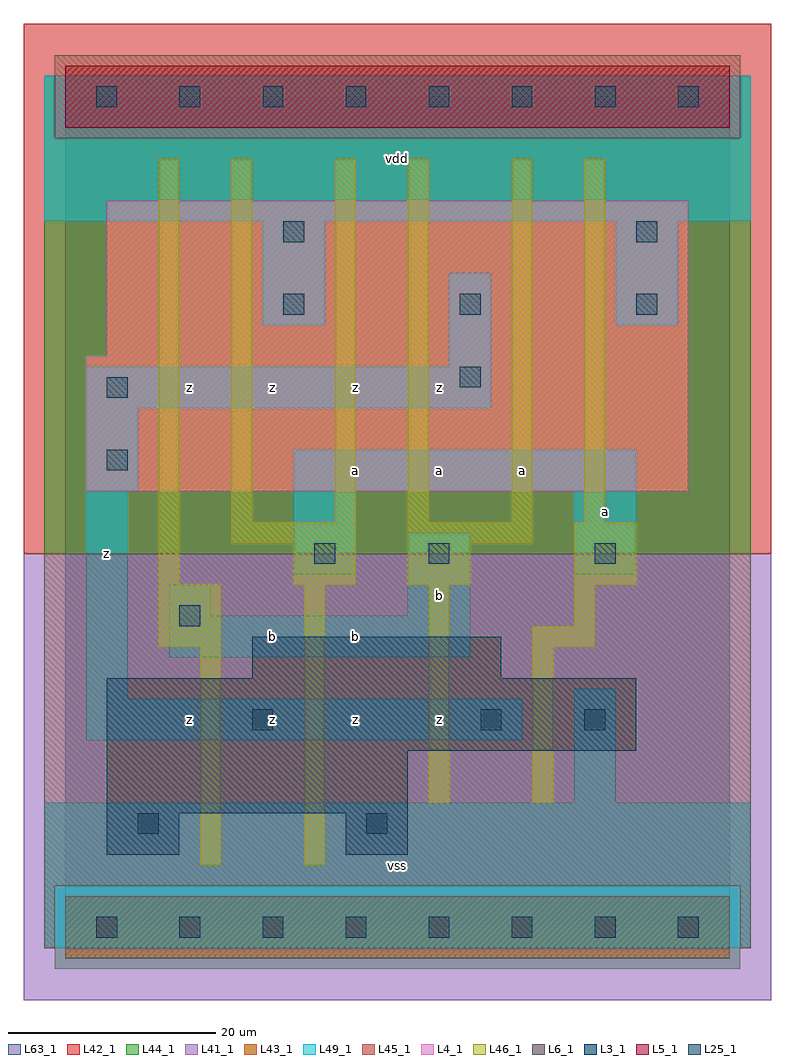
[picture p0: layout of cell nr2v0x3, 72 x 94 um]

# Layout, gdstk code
import gdstk
lib = gdstk.Library(unit=1e-6, precision=1e-09)
def R(c, l, rs):  # rectangles x0, y0, x1, y1
    for r in rs: c.add(gdstk.rectangle(r[:2], r[2:], *l))
def A(c, l, x, y, w, h, nx, ny, dx, dy):  # array of equal rectangles
    R(c, l, [(x+i*dx, y+j*dy, x+i*dx+w, y+j*dy+h) for i in range(nx) for j in range(ny)])
L3_1 = (3, 1)
L4_1 = (4, 1)
L5_1 = (5, 1)
L6_1 = (6, 1)
L25_1 = (25, 1)
L41_1 = (41, 1)
L42_1 = (42, 1)
L43_1 = (43, 1)
L44_1 = (44, 1)
L45_1 = (45, 1)
L46_1 = (46, 1)
L49_1 = (49, 1)
L63_1 = (63, 1)

nr2v0x3 = lib.new_cell('nr2v0x3')
R(nr2v0x3, L3_1, [(4,7,11,11), (27,7,33,11), (4,11,33,17), (4,17,55,24), (18,24,42,28)])
R(nr2v0x3, L4_1, [(2,42,60,55), (4,55,60,70)])
R(nr2v0x3, L5_1, [(0,77,64,83)])
R(nr2v0x3, L6_1, [(0,-3,64,3), (0,-3,64,3)])
A(nr2v0x3, L25_1, 3, -1, 2, 2, 8, 2, 8, 80)
A(nr2v0x3, L25_1, 21, 59, 2, 2, 3, 1, 17, 0)
R(nr2v0x3, L25_1, [(7,9,9,11), (29,9,31,11), (18,19,20,21), (40,19,42,21), (50,19,52,21), (11,29,13,31), (24,35,26,37), (35,35,37,37), (51,35,53,37), (4,44,6,46), (4,51,6,53), (38,52,40,54), (21,66,23,68), (55,66,57,68)])
R(nr2v0x3, L41_1, [(-4,-7,68,36)])
R(nr2v0x3, L42_1, [(-4,36,68,87)])
R(nr2v0x3, L43_1, [(0,-3,64,3), (4,7,11,11), (27,7,33,11), (4,11,33,17), (4,17,55,24), (18,24,42,28), (2,42,60,55), (4,55,60,70), (0,77,64,83)])
R(nr2v0x3, L44_1, [(-1,-4,65,4), (-2,36,66,76), (-2,76,-1,82), (65,76,66,82)])
R(nr2v0x3, L45_1, [(-2,-2,-1,4), (65,-2,66,4), (-2,4,66,36), (-1,76,65,84)])
R(nr2v0x3, L46_1, [(13,6,15,27), (23,6,25,33), (35,12,37,33), (45,12,47,27), (9,27,15,33), (45,27,51,29), (49,29,51,33), (9,33,11,74), (22,33,28,37), (33,33,39,37), (49,33,55,39), (16,37,28,39), (33,37,45,39), (16,39,18,74), (26,39,28,74), (33,39,35,74), (43,39,45,74), (50,39,52,74)])
R(nr2v0x3, L49_1, [(-2,-2,66,12), (49,12,53,23), (2,18,44,22), (2,22,6,42), (10,26,39,30), (10,30,14,33), (33,30,39,38), (22,34,28,42), (49,34,55,42), (2,42,7,50), (22,42,55,46), (2,50,41,54), (37,54,41,63), (19,58,25,68), (53,58,59,68), (-2,68,66,82)])
R(nr2v0x3, L63_1, [(0,0,64,80)])
nr2v0x3.add(gdstk.Label('z', (4,36), layer=49, texttype=1))
nr2v0x3.add(gdstk.Label('z', (12,20), layer=49, texttype=1))
nr2v0x3.add(gdstk.Label('b', (20,28), layer=49, texttype=1))
nr2v0x3.add(gdstk.Label('z', (20,20), layer=49, texttype=1))
nr2v0x3.add(gdstk.Label('z', (20,52), layer=49, texttype=1))
nr2v0x3.add(gdstk.Label('z', (12,52), layer=49, texttype=1))
nr2v0x3.add(gdstk.Label('vss', (32,6), layer=49, texttype=1))
nr2v0x3.add(gdstk.Label('z', (28,20), layer=49, texttype=1))
nr2v0x3.add(gdstk.Label('b', (28,28), layer=49, texttype=1))
nr2v0x3.add(gdstk.Label('z', (36,20), layer=49, texttype=1))
nr2v0x3.add(gdstk.Label('b', (36,32), layer=49, texttype=1))
nr2v0x3.add(gdstk.Label('a', (28,44), layer=49, texttype=1))
nr2v0x3.add(gdstk.Label('a', (36,44), layer=49, texttype=1))
nr2v0x3.add(gdstk.Label('z', (36,52), layer=49, texttype=1))
nr2v0x3.add(gdstk.Label('z', (28,52), layer=49, texttype=1))
nr2v0x3.add(gdstk.Label('vdd', (32,74), layer=49, texttype=1))
nr2v0x3.add(gdstk.Label('a', (44,44), layer=49, texttype=1))
nr2v0x3.add(gdstk.Label('a', (52,40), layer=49, texttype=1))

lib.write_gds('nr2v0x3.gds')
